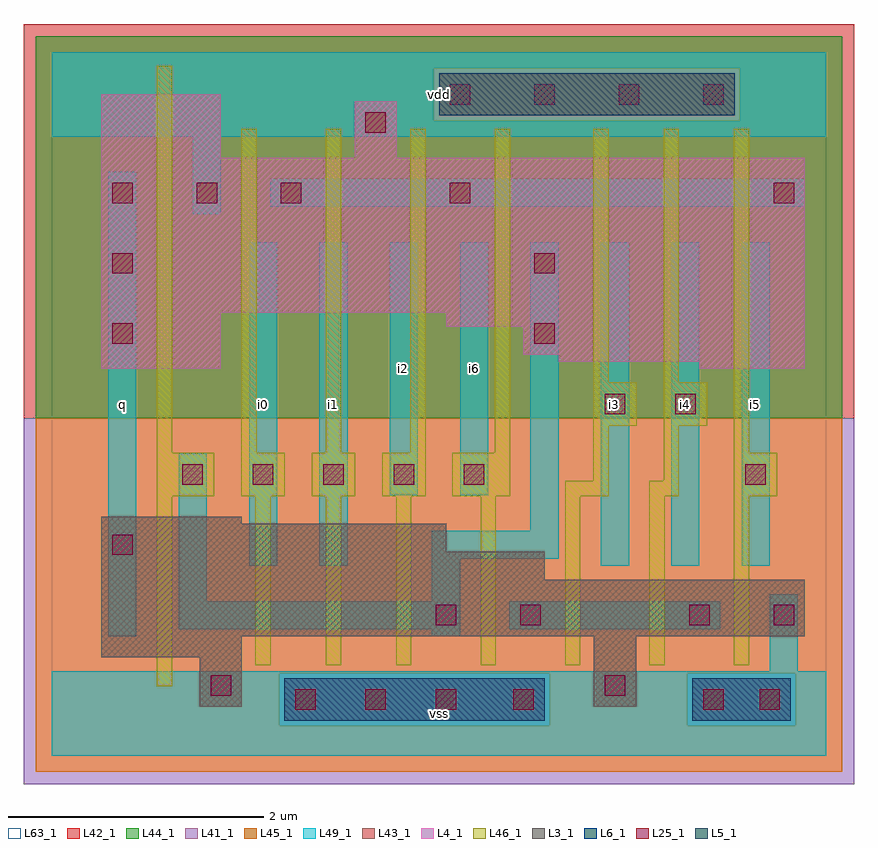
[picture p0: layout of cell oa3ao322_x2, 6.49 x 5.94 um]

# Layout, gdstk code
import gdstk
lib = gdstk.Library(unit=1e-6, precision=1e-09)
def R(c, l, rs):  # rectangles x0, y0, x1, y1
    for r in rs: c.add(gdstk.rectangle(r[:2], r[2:], *l))
def A(c, l, x, y, w, h, nx, ny, dx, dy):  # array of equal rectangles
    R(c, l, [(x+i*dx, y+j*dy, x+i*dx+w, y+j*dy+h) for i in range(nx) for j in range(ny)])
L3_1 = (3, 1)
L4_1 = (4, 1)
L5_1 = (5, 1)
L6_1 = (6, 1)
L25_1 = (25, 1)
L41_1 = (41, 1)
L42_1 = (42, 1)
L43_1 = (43, 1)
L44_1 = (44, 1)
L45_1 = (45, 1)
L46_1 = (46, 1)
L49_1 = (49, 1)
L63_1 = (63, 1)

oa3ao322_x2 = lib.new_cell('oa3ao322_x2')
R(oa3ao322_x2, L3_1, [(1.155,0.385,1.485,0.77), (4.235,0.385,4.565,0.935), (0.385,0.77,1.485,0.935), (0.385,0.935,5.885,1.375), (0.385,1.375,3.85,1.595), (0.385,1.595,3.08,1.815), (0.385,1.815,1.485,1.87)])
R(oa3ao322_x2, L4_1, [(0.385,3.025,1.32,3.465), (5.06,3.025,5.885,3.08), (3.96,3.08,5.885,3.135), (3.685,3.135,5.885,3.355), (3.08,3.355,5.885,3.465), (0.385,3.465,5.885,4.675), (0.385,4.675,1.32,5.17), (2.365,4.675,2.695,5.115)])
R(oa3ao322_x2, L5_1, [(3.025,5.005,5.335,5.335)])
R(oa3ao322_x2, L6_1, [(1.815,0.275,3.85,0.605), (5.005,0.275,5.775,0.605)])
A(oa3ao322_x2, L25_1, 1.9, 0.36, 0.16, 0.16, 3, 1, 0.55, 0)
A(oa3ao322_x2, L25_1, 1.02, 2.12, 0.16, 0.16, 5, 1, 0.55, 0)
A(oa3ao322_x2, L25_1, 0.47, 4.32, 0.16, 0.16, 3, 1, 0.66, 0)
A(oa3ao322_x2, L25_1, 3.11, 5.09, 0.16, 0.16, 4, 1, 0.66, 0)
R(oa3ao322_x2, L25_1, [(3.605,0.36,3.765,0.52), (5.09,0.36,5.25,0.52), (5.53,0.36,5.69,0.52), (1.24,0.47,1.4,0.63), (4.32,0.47,4.48,0.63), (3,1.02,3.16,1.18), (3.66,1.02,3.82,1.18), (4.98,1.02,5.14,1.18), (5.64,1.02,5.8,1.18), (0.47,1.57,0.63,1.73), (5.42,2.12,5.58,2.28), (4.32,2.67,4.48,2.83), (4.87,2.67,5.03,2.83), (0.47,3.22,0.63,3.38), (3.77,3.22,3.93,3.38), (0.47,3.77,0.63,3.93), (3.77,3.77,3.93,3.93), (3.11,4.32,3.27,4.48), (5.64,4.32,5.8,4.48), (2.45,4.87,2.61,5.03)])
R(oa3ao322_x2, L41_1, [(-0.22,-0.22,6.27,2.64)])
R(oa3ao322_x2, L42_1, [(-0.22,2.64,6.27,5.72)])
R(oa3ao322_x2, L43_1, [(1.815,0.275,3.85,0.605), (5.005,0.275,5.775,0.605), (1.155,0.385,1.485,0.77), (4.235,0.385,4.565,0.935), (0.385,0.77,1.485,0.935), (0.385,0.935,5.885,1.375), (0.385,1.375,3.85,1.595), (0.385,1.595,3.08,1.815), (0.385,1.815,1.485,1.87), (0.385,3.025,1.32,3.465), (5.06,3.025,5.885,3.08), (3.96,3.08,5.885,3.135), (3.685,3.135,5.885,3.355), (3.08,3.355,5.885,3.465), (0.385,3.465,5.885,4.675), (0.385,4.675,1.32,5.17), (2.365,4.675,2.695,5.115), (3.025,5.005,5.335,5.335)])
R(oa3ao322_x2, L44_1, [(1.775,0.235,3.89,0.645), (4.965,0.235,5.815,0.645), (-0.125,2.64,6.175,4.965), (-0.125,4.965,2.985,5.375), (5.375,4.965,6.175,5.375), (-0.125,5.375,6.175,5.625)])
R(oa3ao322_x2, L45_1, [(-0.125,-0.125,6.175,0.235), (-0.125,0.235,1.775,0.645), (3.89,0.235,4.965,0.645), (5.815,0.235,6.175,0.645), (-0.125,0.645,6.175,2.64), (2.985,4.965,5.375,5.375)])
A(oa3ao322_x2, L46_1, 1.59, 0.71, 0.12, 1.32, 3, 1, 0.55, 0)
A(oa3ao322_x2, L46_1, 3.35, 0.71, 0.12, 1.32, 4, 1, 0.66, 0)
A(oa3ao322_x2, L46_1, 1.48, 2.03, 0.34, 0.34, 3, 1, 0.55, 0)
A(oa3ao322_x2, L46_1, 1.48, 2.37, 0.12, 2.53, 4, 1, 0.66, 0)
R(oa3ao322_x2, L46_1, [(0.82,0.545,0.94,2.03), (0.82,2.03,1.27,2.37), (3.13,2.03,3.58,2.37), (4.01,2.03,4.35,2.15), (4.67,2.03,4.9,2.15), (5.33,2.03,5.67,2.37), (4.23,2.15,4.35,2.58), (4.78,2.15,4.9,2.58), (0.82,2.37,0.94,5.395), (5.33,2.37,5.45,4.9), (4.23,2.58,4.57,2.92), (4.78,2.58,5.12,2.92), (4.23,2.92,4.35,4.9), (4.78,2.92,4.9,4.9)])
A(oa3ao322_x2, L49_1, 4.29, 1.485, 0.22, 2.53, 3, 1, 0.55, 0)
R(oa3ao322_x2, L49_1, [(0,0,6.05,0.66), (5.61,0.66,5.83,1.265), (0.44,0.935,0.66,4.565), (2.97,0.935,3.19,0.99), (0.99,0.99,3.19,1.21), (3.575,0.99,5.225,1.21), (0.99,1.21,1.21,2.365), (2.97,1.21,3.19,1.54), (1.54,1.485,1.76,4.015), (2.09,1.485,2.31,4.015), (2.97,1.54,3.96,1.76), (3.74,1.76,3.96,4.015), (2.64,2.035,2.86,4.015), (3.19,2.035,3.41,4.015), (1.1,4.235,1.32,4.84), (1.705,4.29,5.885,4.51), (0,4.84,6.05,5.5)])
R(oa3ao322_x2, L63_1, [(0,0,6.05,5.5)])
oa3ao322_x2.add(gdstk.Label('q', (0.55,2.75), layer=49, texttype=1))
oa3ao322_x2.add(gdstk.Label('i0', (1.65,2.75), layer=49, texttype=1))
oa3ao322_x2.add(gdstk.Label('i1', (2.2,2.75), layer=49, texttype=1))
oa3ao322_x2.add(gdstk.Label('vss', (3.025,0.33), layer=49, texttype=1))
oa3ao322_x2.add(gdstk.Label('i6', (3.3,3.025), layer=49, texttype=1))
oa3ao322_x2.add(gdstk.Label('i2', (2.75,3.025), layer=49, texttype=1))
oa3ao322_x2.add(gdstk.Label('vdd', (3.025,5.17), layer=49, texttype=1))
oa3ao322_x2.add(gdstk.Label('i3', (4.4,2.75), layer=49, texttype=1))
oa3ao322_x2.add(gdstk.Label('i4', (4.95,2.75), layer=49, texttype=1))
oa3ao322_x2.add(gdstk.Label('i5', (5.5,2.75), layer=49, texttype=1))

lib.write_gds('oa3ao322_x2.gds')
